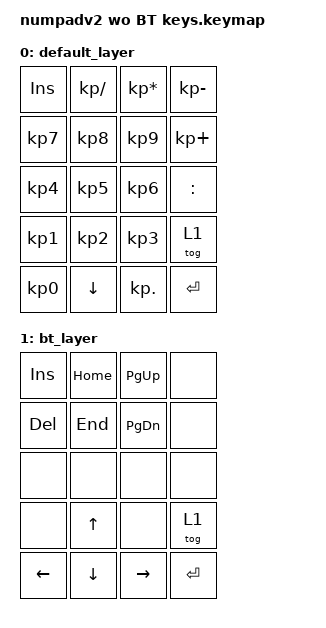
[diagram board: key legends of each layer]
#include <behaviors.dtsi>
#include <dt-bindings/zmk/keys.h>
#include <dt-bindings/zmk/bt.h>

/ {
    keymap {
        compatible = "zmk,keymap";

        default_layer {
            bindings = <
                &kp INSERT  &kp KP_DIVIDE   &kp KP_MULTIPLY   &kp KP_MINUS
                &kp KP_N7   &kp KP_N8       &kp KP_N9       &kp KP_PLUS
                &kp KP_N4   &kp KP_N5       &kp KP_N6       &kp COLON
                &kp KP_N1   &kp KP_N2       &kp KP_N3       &tog 1
                &kp KP_N0   &kp DOWN        &kp KP_DOT      &kp ENTER
            >;
        };

        bt_layer {
            bindings = <
                &kp INSERT      &kp HOME        &kp PAGE_UP   &none       
                &kp DEL         &kp END         &kp PAGE_DOWN &none
                &none           &none           &none         &none       
                &none           &kp UP          &none         &tog 1
                &kp LEFT        &kp DOWN        &kp RIGHT     &kp ENTER
            >;
        };
    };
};
